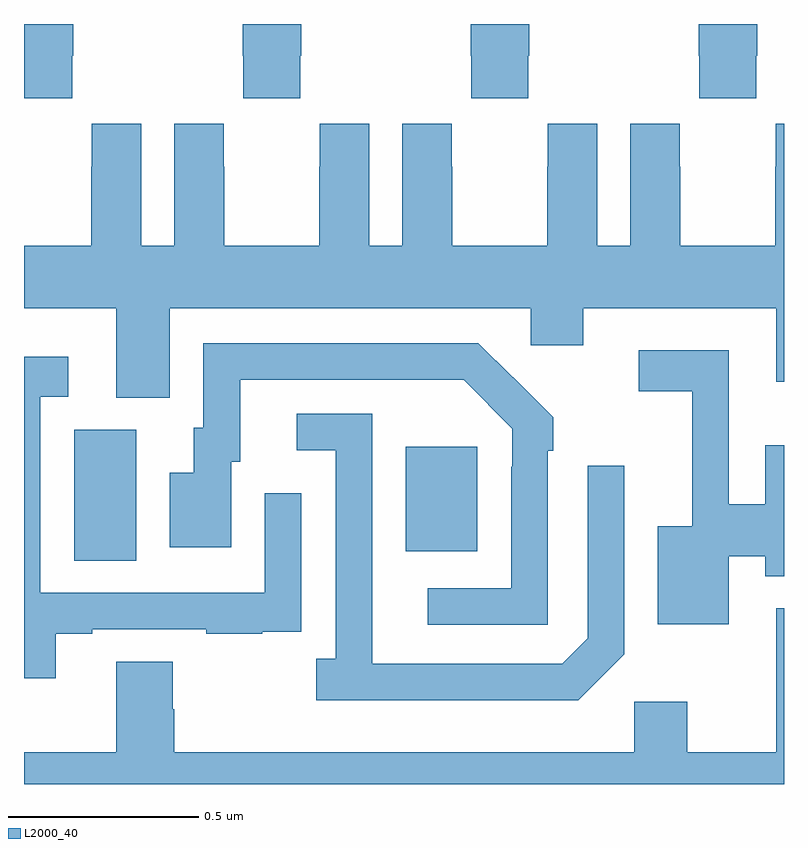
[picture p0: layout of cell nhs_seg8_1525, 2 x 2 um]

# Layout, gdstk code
import gdstk
lib = gdstk.Library(unit=1e-6, precision=1e-09)
def R(c, l, rs):  # rectangles x0, y0, x1, y1
    for r in rs: c.add(gdstk.rectangle(r[:2], r[2:], *l))
def P(c, l, *ps):  # polygons
    for p in ps: c.add(gdstk.Polygon(p, *l))
L2000_40 = (2000, 40)

nhs_seg8_1525 = lib.new_cell('nhs_seg8_1525')
R(nhs_seg8_1525, L2000_40, [(131.132,1130.488,131.296,1130.832), (132.005,1130.513,132.193,1130.788)])
P(nhs_seg8_1525, L2000_40, [(132.927,1131.817),(132.93,1131.817),(132.93,1131.9),(132.775,1131.9),(132.775,1131.817),(132.777,1131.817),(132.777,1131.705),(132.927,1131.705)],
  [(131.127,1131.817),(131.13,1131.817),(131.13,1131.9),(131,1131.9),(131,1131.705),(131.127,1131.705)],
  [(131.727,1131.817),(131.73,1131.817),(131.73,1131.9),(131.575,1131.9),(131.575,1131.817),(131.577,1131.817),(131.577,1131.705),(131.727,1131.705)],
  [(132.175,1131.817),(132.177,1131.817),(132.177,1131.705),(132.327,1131.705),(132.327,1131.817),(132.33,1131.817),(132.33,1131.9),(132.175,1131.9)],
  [(131.243,1130.917),(131.383,1130.917),(131.383,1131.152),(132.333,1131.152),(132.333,1131.054),(132.472,1131.054),(132.472,1131.152),(132.98,1131.152),(132.98,1130.958),(133,1130.958),(133,1131.637),(132.978,1131.637),(132.978,1131.524),(132.977,1131.524),(132.977,1131.316),(132.727,1131.316),(132.727,1131.524),(132.726,1131.524),(132.726,1131.637),(132.596,1131.637),(132.596,1131.316),(132.508,1131.316),(132.508,1131.637),(132.378,1131.637),(132.378,1131.524),(132.377,1131.524),(132.377,1131.316),(132.127,1131.316),(132.127,1131.524),(132.126,1131.524),(132.126,1131.637),(131.996,1131.637),(131.996,1131.316),(131.908,1131.316),(131.908,1131.637),(131.778,1131.637),(131.778,1131.524),(131.777,1131.524),(131.777,1131.316),(131.527,1131.316),(131.527,1131.524),(131.526,1131.524),(131.526,1131.637),(131.396,1131.637),(131.396,1131.316),(131.308,1131.316),(131.308,1131.637),(131.178,1131.637),(131.178,1131.524),(131.177,1131.524),(131.177,1131.316),(131,1131.316),(131,1131.152),(131.243,1131.152)],
  [(132.378,1130.777),(132.393,1130.777),(132.393,1130.865),(132.288,1130.97),(132.287,1130.969),(132.196,1131.06),(131.472,1131.06),(131.472,1130.838),(131.447,1130.838),(131.447,1130.719),(131.384,1130.719),(131.384,1130.523),(131.545,1130.523),(131.545,1130.748),(131.569,1130.748),(131.569,1130.964),(132.157,1130.964),(132.285,1130.835),(132.285,1130.735),(132.282,1130.735),(132.282,1130.415),(132.063,1130.415),(132.063,1130.319),(132.378,1130.319)],
  [(132.855,1130.5),(132.95,1130.5),(132.95,1130.447),(133,1130.447),(133,1130.791),(132.95,1130.791),(132.95,1130.636),(132.855,1130.636),(132.855,1131.042),(132.618,1131.042),(132.618,1130.934),(132.758,1130.934),(132.758,1130.578),(132.668,1130.578),(132.668,1130.321),(132.855,1130.321)],
  [(131.083,1130.295),(131.179,1130.295),(131.179,1130.307),(131.479,1130.307),(131.479,1130.295),(131.627,1130.295),(131.627,1130.301),(131.729,1130.301),(131.729,1130.41),(131.73,1130.41),(131.73,1130.665),(131.634,1130.665),(131.634,1130.403),(131.043,1130.403),(131.043,1130.919),(131.116,1130.919),(131.116,1131.025),(131,1131.025),(131,1130.178),(131.083,1130.178)],
  [(132.579,1130.241),(132.579,1130.737),(132.483,1130.737),(132.483,1130.283),(132.417,1130.217),(131.917,1130.217),(131.917,1130.417),(131.916,1130.417),(131.916,1130.874),(131.718,1130.874),(131.718,1130.778),(131.82,1130.778),(131.82,1130.23),(131.769,1130.23),(131.769,1130.12),(132.458,1130.12)],
  [(133,1130.362),(132.98,1130.362),(132.98,1129.984),(132.745,1129.984),(132.745,1130.116),(132.606,1130.116),(132.606,1129.984),(131.396,1129.984),(131.396,1130.097),(131.391,1130.097),(131.391,1130.222),(131.243,1130.222),(131.243,1129.984),(131,1129.984),(131,1129.9),(133,1129.9)])

lib.write_gds('nhs_seg8_1525.gds')
